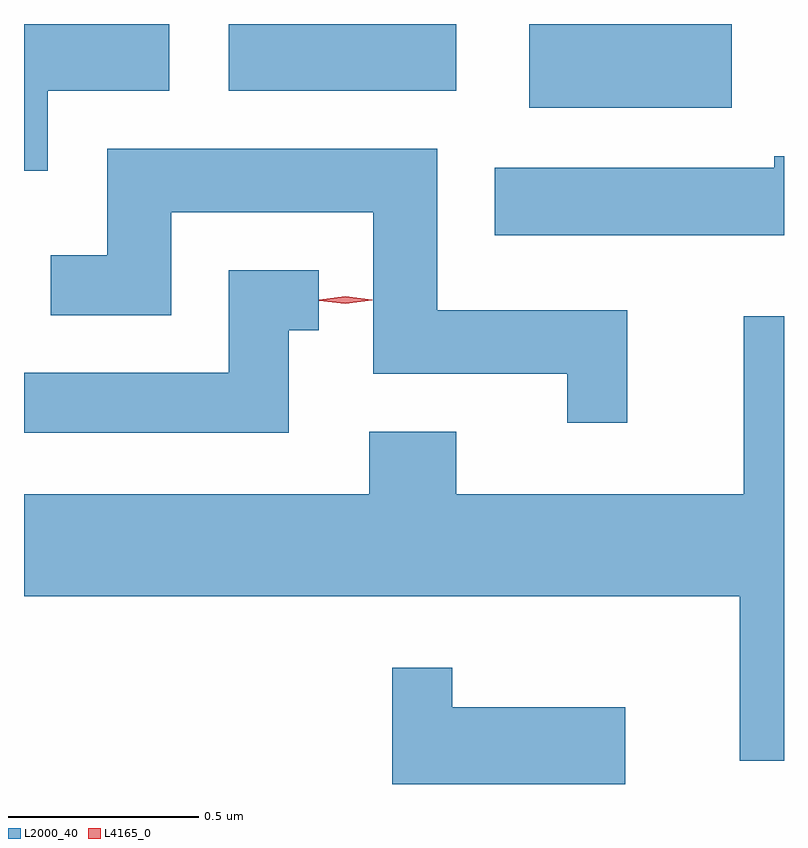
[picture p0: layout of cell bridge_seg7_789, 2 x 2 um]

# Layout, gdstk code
import gdstk
lib = gdstk.Library(unit=1e-6, precision=1e-09)
def R(c, l, rs):  # rectangles x0, y0, x1, y1
    for r in rs: c.add(gdstk.rectangle(r[:2], r[2:], *l))
def P(c, l, *ps):  # polygons
    for p in ps: c.add(gdstk.Polygon(p, *l))
L2000_40 = (2000, 40)
L4165_0 = (4165, 0)

bridge_seg7_789 = lib.new_cell('bridge_seg7_789')
R(bridge_seg7_789, L2000_40, [(418.861,1751.121,419.394,1751.342), (418.071,1751.166,418.669,1751.342)])
P(bridge_seg7_789, L2000_40, [(417.594,1751.166),(417.914,1751.166),(417.914,1751.342),(417.532,1751.342),(417.532,1750.956),(417.594,1750.956)],
  [(419.119,1750.589),(418.619,1750.589),(418.619,1751.014),(417.751,1751.014),(417.751,1750.734),(417.603,1750.734),(417.603,1750.576),(417.919,1750.576),(417.919,1750.846),(418.451,1750.846),(418.451,1750.421),(418.961,1750.421),(418.961,1750.293),(419.119,1750.293)],
  [(419.532,1750.994),(419.506,1750.994),(419.506,1750.964),(418.771,1750.964),(418.771,1750.786),(419.532,1750.786)],
  [(418.229,1750.536),(418.308,1750.536),(418.308,1750.694),(418.071,1750.694),(418.071,1750.424),(417.532,1750.424),(417.532,1750.266),(418.229,1750.266)],
  [(419.532,1750.573),(419.426,1750.573),(419.426,1750.104),(418.669,1750.104),(418.669,1750.269),(418.441,1750.269),(418.441,1750.104),(417.532,1750.104),(417.532,1749.836),(419.416,1749.836),(419.416,1749.403),(419.532,1749.403)],
  [(419.114,1749.544),(418.659,1749.544),(418.659,1749.648),(418.501,1749.648),(418.501,1749.342),(419.114,1749.342)])
P(bridge_seg7_789, L4165_0, [(418.378,1750.606),(418.309,1750.614),(418.309,1750.615),(418.309,1750.616),(418.378,1750.625),(418.448,1750.616),(418.448,1750.616),(418.448,1750.615)])

lib.write_gds('bridge_seg7_789.gds')
